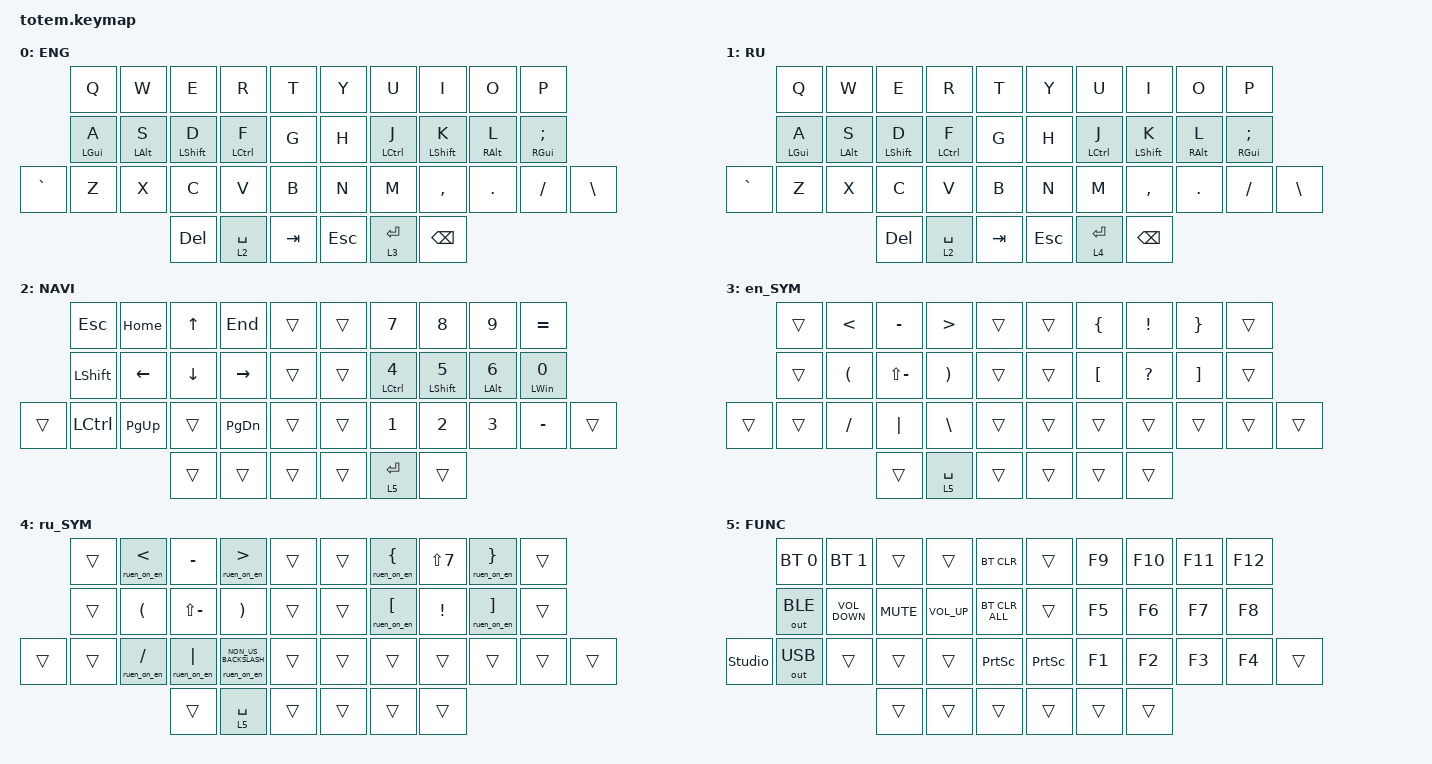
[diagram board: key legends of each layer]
//
//                                                        ▀▀▀▀▀     ▀▀▀▀▀          ▀▀█▀▀
//                                                        ▄▀▀▀▄  ▄  ▄▀▀▀▄  ▄  ▄▀▀▀▄  █  ▄▀▀▀▄
//                                                        █   █  █  █   █  █  █   █  █  █   █
//                                                         ▀▀▀   █   ▀▀▀   █   ▀▀▀   ▀   ▀▀▀
//                                                               █      ▄▄▄█▄▄▄    █   █  
//                                                               ▀      █  █  █     █▄█
//                                                             ▀▀▀▀▀    █  █  █      ▀
//                                                                      ▀  ▀  ▀
//
// ▄▄▄▄▄▄▄▄▄▄▄▄▄▄▄▄▄▄▄▄▄▄▄▄▄▄▄▄▄▄▄▄▄▄▄▄▄▄▄▄▄▄▄▄▄▄▄▄▄▄▄▄▄▄▄▄▄▄▄▄▄▄▄▄▄▄▄▄▄▄▄▄▄▄▄▄▄▄▄▄▄▄▄▄▄▄▄▄▄▄▄▄▄▄▄▄▄▄▄▄▄▄▄▄▄▄▄▄▄▄▄▄▄▄▄▄▄▄▄▄▄▄▄▄▄▄▄▄▄▄▄▄▄▄▄▄▄▄▄▄▄▄▄▄▄▄▄▄▄

#include <behaviors.dtsi>
#include <dt-bindings/zmk/bt.h>
#include <dt-bindings/zmk/keys.h>
#include <dt-bindings/zmk/outputs.h>

#define BASE 0
#define NAV  1
#define SYM  2
#define ADJ  3
#define TVP1 4
#define TVP2 5

&mt {
    quick-tap-ms = <100>;
    global-quick-tap;
    flavor = "tap-preferred";
    tapping-term-ms = <170>;
};

/ {
    combos {
        compatible = "zmk,combos";

        combo_esc {
            timeout-ms = <50>;
            key-positions = <0 1>;
            bindings = <&kp ESC>;
            layers = <0 1>;
        };

        combo_tvp {
            timeout-ms = <100>;
            key-positions = <11 12 13>;
            bindings = <&tog 0>;
        };

        Eng_layer {
            bindings = <&en_lay>;
            key-positions = <21 22>;
        };

        ru_layer {
            bindings = <&ru_lay>;
            key-positions = <30 29>;
        };

        onEn_dot_colon {
            bindings = <&mt LS(SEMICOLON) PERIOD>;
            key-positions = <2 3>;
            layers = <0>;
        };

        onRu_dot_colon {
            bindings = <&mt NUMBER_6 LS(SLASH)>;
            key-positions = <2 3>;
            layers = <1>;
        };

        onEn_comma_semicolon {
            bindings = <&mt SEMICOLON COMMA>;
            key-positions = <2 1>;
            layers = <0>;
        };

        onRu_comma_semicolon {
            bindings = <&mt LS(NUMBER_4) LS(SLASH)>;
            key-positions = <1 2>;
            layers = <1>;
        };

        onRu_square_l {
            bindings = <&ruen_on_en LEFT_BRACKET>;
            key-positions = <13 14>;
            layers = <1>;
        };

        onRu_square_r {
            bindings = <&ruen_on_en RIGHT_BRACKET>;
            key-positions = <15 16>;
            layers = <1>;
        };

        round_brace_l {
            bindings = <&kp LS(N9)>;
            key-positions = <3 4>;
            layers = <0 1>;
        };

        round_brace_r {
            bindings = <&kp LS(N0)>;
            key-positions = <5 6>;
            layers = <0 1>;
        };

        onEn_square_l {
            bindings = <&kp LEFT_BRACKET>;
            key-positions = <13 14>;
            layers = <0>;
        };

        onEn_square_r {
            bindings = <&kp LEFT_BRACKET>;
            key-positions = <15 16>;
            layers = <0>;
        };

        onRu_figure_l {
            bindings = <&ruen_on_en LS(LEFT_BRACKET)>;
            key-positions = <3 4>;
            layers = <0>;
        };

        onRu_figure_r {
            bindings = <&ruen_on_en LS(RIGHT_BRACKET)>;
            key-positions = <5 6>;
            layers = <0>;
        };

        backspace {
            bindings = <&kp BACKSPACE>;
            key-positions = <8 9>;
        };

        cut {
            bindings = <&kp K_CUT>;
            key-positions = <21 22>;
        };

        copy {
            bindings = <&kp K_COPY>;
            key-positions = <22 23>;
        };

        paste {
            bindings = <&kp K_PASTE>;
            key-positions = <23 24>;
        };

        rus_kha {
            bindings = <&kp LEFT_BRACKET>;
            key-positions = <7 6>;
            layers = <1>;
        };

        rus_hard_sign {
            bindings = <&kp RIGHT_BRACKET>;
            key-positions = <7 8>;
            layers = <1>;
        };

        leftRound {
            bindings = <&kp LS(N9)>;
            key-positions = <24 25>;
            layers = <0 1>;
        };

        rightRound {
            bindings = <&kp LS(N0)>;
            key-positions = <26 27>;
        };
    };

    macros {
        gif: gif {
            label = "giphy";
            compatible = "zmk,behavior-macro";
            #binding-cells = <0>;
            bindings =
                <&macro_press>,
                <&kp LSHFT>,
                <&macro_tap>,
                <&kp N2>,
                <&macro_release>,
                <&kp LSHFT>,
                <&macro_tap>,
                <&kp G &kp I &kp F>;
        };

        en_lay: ru_lay {
            compatible = "zmk,behavior-macro";
            #binding-cells = <0>;
            bindings = <&to_en &to 0>;
            label = "RU_LAY";
        };

        ru_lay: en_lay {
            compatible = "zmk,behavior-macro";
            #binding-cells = <0>;
            bindings = <&to_ru &to 1>;
            label = "EN_LAY";
        };

        to_en: to_en {
            compatible = "zmk,behavior-macro";
            #binding-cells = <0>;
            bindings = <&kp LA(LC(NUMBER_1))>;
            label = "TO_EN";
        };

        to_ru: to_ru {
            compatible = "zmk,behavior-macro";
            #binding-cells = <0>;
            bindings = <&kp LC(LA(NUMBER_2))>;
            label = "TO_RU";
        };

        ruen_on_en: ruen_on_en {
            compatible = "zmk,behavior-macro-one-param";
            #binding-cells = <1>;
            bindings =
                <&to_en>,
                <&macro_press>,
                <&macro_param_1to1 &kp MACRO_PLACEHOLDER>,
                <&macro_pause_for_release>,
                <&macro_release>,
                <&macro_param_1to1 &kp MACRO_PLACEHOLDER>,
                <&macro_tap>,
                <&to_ru>;

            label = "RUEN_ON_EN";
        };
    };

    behaviors {
        hrm_left: hrm_left {
            compatible = "zmk,behavior-hold-tap";
            label = "HRM_LEFT";
            bindings = <&kp>, <&kp>;

            #binding-cells = <2>;
            tapping-term-ms = <280>;
            quick-tap-ms = <175>;
            require-prior-idle-ms = <150>;
            flavor = "balanced";
            hold-trigger-key-positions = <2 3 4 3 4 0 1 2 3 4 10 11 12 13 14 20 21 22 23 24 25 32 33 34>;
            hold-trigger-on-release;
        };

        hrm_right: hrm_right {
            compatible = "zmk,behavior-hold-tap";
            label = "HRM_RIGHT";
            bindings = <&kp>, <&kp>;

            #binding-cells = <2>;
            tapping-term-ms = <280>;
            quick-tap-ms = <175>;
            require-prior-idle-ms = <150>;
            flavor = "balanced";
            hold-trigger-on-release;
            hold-trigger-key-positions = <5 6 7 8 9 15 16 17 18 19 26 27 28 29 30 31 35 36 37>;
        };
    };

    keymap {
        compatible = "zmk,keymap";

        // ▄▄▄▄▄▄▄▄▄▄▄▄▄▄▄▄▄▄▄▄▄▄▄▄▄▄▄▄▄▄▄▄▄▄▄▄▄▄▄▄▄▄▄▄▄▄▄▄▄▄▄▄▄▄▄▄▄▄▄▄▄▄▄▄▄▄▄▄▄▄▄▄▄▄▄▄▄▄▄▄▄▄▄▄▄▄▄▄▄▄▄▄▄▄▄▄▄▄▄▄▄▄▄▄▄▄▄▄▄▄▄▄▄▄▄▄▄▄▄▄▄▄▄▄▄▄▄▄▄▄▄▄▄▄▄▄▄▄▄▄▄▄▄▄▄▄▄▄▄

        ENG {
            // ┏━━━━━━━━━━━━━━━━━━━━━━━━━━━━━━━━━━━━━━━┓

            label = "ENG";

            // ┗━━━━━━━━━━━━━━━━━━━━━━━━━━━━━━━━━━━━━━━┛
            //             ┏━━━━━━━━━━━┳━━━━━━━━━━━┳━━━━━━━━━━━┳━━━━━━━━━━━┳━━━━━━━━━━━┓   ┏━━━━━━━━━━━┳━━━━━━━━━━━┳━━━━━━━━━━━┳━━━━━━━━━━━┳━━━━━━━━━━━┓
            //             ┃     Q     ┃     W     ┃     F     ┃     P     ┃     G     ┃   ┃     J     ┃     L     ┃     U     ┃     Y     ┃     ;     ┃
            //             ┣━━━━━━━━━━━╋━━━━━━━━━━━╋━━━━━━━━━━━╋━━━━━━━━━━━╋━━━━━━━━━━━┫   ┣━━━━━━━━━━━╋━━━━━━━━━━━╋━━━━━━━━━━━╋━━━━━━━━━━━╋━━━━━━━━━━━┫
            //             ┃     A     ┃     R     ┃     S     ┃     T     ┃     D     ┃   ┃     H     ┃     N     ┃     E     ┃     I     ┃     O     ┃
            // ┏━━━━━━━━━━━╋━━━━━━━━━━━╋━━━━━━━━━━━╋━━━━━━━━━━━╋━━━━━━━━━━━╋━━━━━━━━━━━┫   ┣━━━━━━━━━━━╋━━━━━━━━━━━╋━━━━━━━━━━━╋━━━━━━━━━━━╋━━━━━━━━━━━╋━━━━━━━━━━━┓
            // ┃     Q     ┃     Z     ┃     X     ┃     C     ┃     V     ┃     B     ┃   ┃     K     ┃     M     ┃     ,     ┃     .     ┃     /     ┃     \     ┃
            // ┗━━━━━━━━━━━┻━━━━━━━━━━━┻━━━━━━━━━━━╋━━━━━━━━━━━╋━━━━━━━━━━━╋━━━━━━━━━━━┫   ┣━━━━━━━━━━━╋━━━━━━━━━━━╋━━━━━━━━━━━╋━━━━━━━━━━━┻━━━━━━━━━━━┻━━━━━━━━━━━┛
            //                                     ┃    DEL    ┃    TAB    ┃    SPC    ┃   ┃   ENTER   ┃           ┃   BSPC    ┃
            //                                     ┗━━━━━━━━━━━┻━━━━━━━━━━━┻━━━━━━━━━━━┛   ┗━━━━━━━━━━━┻━━━━━━━━━━━┻━━━━━━━━━━━┛

            bindings = <
           &kp Q       &kp W       &kp E        &kp R        &kp T      &kp Y    &kp U        &kp I             &kp O       &kp P
           &mt LGUI A  &mt LALT S  &mt LSHFT D  &mt LCTRL F  &kp G      &kp H    &mt LCTRL J  &mt LEFT_SHIFT K  &mt RALT L  &mt RGUI SEMICOLON
&kp GRAVE  &kp Z       &kp X       &kp C        &kp V        &kp B      &kp N    &kp M        &kp COMMA         &kp DOT     &kp SLASH           &kp BSLH
                                   &kp DEL      &lt 2 SPACE  &kp TAB    &kp ESC  &lt 3 ENTER  &kp BSPC
            >;
        };

        RU {
            label = "RU";
            bindings = <
           &kp Q             &kp W             &kp E                   &kp R                     &kp T      &kp Y    &kp U                      &kp I                    &kp O              &kp P
           &hrm_left LGUI A  &hrm_left LALT S  &hrm_left LEFT_SHIFT D  &hrm_left LEFT_CONTROL F  &kp G      &kp H    &hrm_right LEFT_CONTROL J  &hrm_right LEFT_SHIFT K  &hrm_right RALT L  &hrm_right RGUI SEMICOLON
&kp GRAVE  &kp Z             &kp X             &kp C                   &kp V                     &kp B      &kp N    &kp M                      &kp COMMA                &kp DOT            &kp SLASH                  &kp BSLH
                                               &kp DEL                 &lt 2 SPACE               &kp TAB    &kp ESC  &lt 4 ENTER                &kp BSPC
            >;
        };

        nav_layer {
            // ┏━━━━━━━━━━━━━━━━━━━━━━━━━━━━━━━━━━━━━━━┓

            label = "NAVI";

            // ┗━━━━━━━━━━━━━━━━━━━━━━━━━━━━━━━━━━━━━━━┛
            //             ┏━━━━━━━━━━━┳━━━━━━━━━━━┳━━━━━━━━━━━┳━━━━━━━━━━━┳━━━━━━━━━━━┓   ┏━━━━━━━━━━━┳━━━━━━━━━━━┳━━━━━━━━━━━┳━━━━━━━━━━━┳━━━━━━━━━━━┓
            //             ┃           ┃           ┃     UP    ┃           ┃     {     ┃   ┃     }     ┃     7     ┃     8     ┃     9     ┃     +     ┃
            //             ┣━━━━━━━━━━━╋━━━━━━━━━━━╋━━━━━━━━━━━╋━━━━━━━━━━━╋━━━━━━━━━━━┫   ┣━━━━━━━━━━━╋━━━━━━━━━━━╋━━━━━━━━━━━╋━━━━━━━━━━━╋━━━━━━━━━━━┫
            //             ┃   SHIFT   ┃   LEFT    ┃    DOWN   ┃   RIGHT   ┃     [     ┃   ┃     ]     ┃     4     ┃     5     ┃     6     ┃     -     ┃
            // ┏━━━━━━━━━━━╋━━━━━━━━━━━╋━━━━━━━━━━━╋━━━━━━━━━━━╋━━━━━━━━━━━╋━━━━━━━━━━━┫   ┣━━━━━━━━━━━╋━━━━━━━━━━━╋━━━━━━━━━━━╋━━━━━━━━━━━╋━━━━━━━━━━━╋━━━━━━━━━━━┓
            // ┃           ┃           ┃   P UP    ┃  C LOCK   ┃  P DOWN   ┃     (     ┃   ┃     )     ┃     1     ┃     2     ┃     3     ┃     *     ┃           ┃
            // ┗━━━━━━━━━━━┻━━━━━━━━━━━┻━━━━━━━━━━━╋━━━━━━━━━━━╋━━━━━━━━━━━╋━━━━━━━━━━━┫   ┣━━━━━━━━━━━╋━━━━━━━━━━━╋━━━━━━━━━━━╋━━━━━━━━━━━┻━━━━━━━━━━━┻━━━━━━━━━━━┛
            //                                     ┃           ┃    TAB    ┃    SPC    ┃   ┃    DEL    ┃     0     ┃           ┃
            //                                     ┗━━━━━━━━━━━┻━━━━━━━━━━━┻━━━━━━━━━━━┛   ┗━━━━━━━━━━━┻━━━━━━━━━━━┻━━━━━━━━━━━┛

            bindings = <
        &kp ESC    &kp HOME   &kp UP    &kp END    &trans    &trans  &kp N7              &kp N8             &kp N9                 &kp EQUAL
        &kp LSHFT  &kp LEFT   &kp DOWN  &kp RIGHT  &trans    &trans  &mt LCTRL NUMBER_4  &mt LEFT_SHIFT N5  &mt LEFT_ALT NUMBER_6  &mt LEFT_WIN N0
&trans  &kp LCTRL  &kp PG_UP  &trans    &kp PG_DN  &trans    &trans  &kp NUMBER_1        &kp NUMBER_2       &kp NUMBER_3           &kp MINUS        &trans
                              &trans    &trans     &trans    &trans  &lt 5 ENTER         &trans
            >;
        };

        en_SYM {
            // ┏━━━━━━━━━━━━━━━━━━━━━━━━━━━━━━━━━━━━━━━┓

            label = "en_SYM";

            // ┗━━━━━━━━━━━━━━━━━━━━━━━━━━━━━━━━━━━━━━━┛
            //             ┏━━━━━━━━━━━┳━━━━━━━━━━━┳━━━━━━━━━━━┳━━━━━━━━━━━┳━━━━━━━━━━━┓   ┏━━━━━━━━━━━┳━━━━━━━━━━━┳━━━━━━━━━━━┳━━━━━━━━━━━┳━━━━━━━━━━━┓
            //             ┃     !     ┃     @     ┃     #     ┃     $     ┃     %     ┃   ┃     ˆ     ┃     &     ┃     Ü     ┃     '     ┃     "     ┃
            //             ┣━━━━━━━━━━━╋━━━━━━━━━━━╋━━━━━━━━━━━╋━━━━━━━━━━━╋━━━━━━━━━━━┫   ┣━━━━━━━━━━━╋━━━━━━━━━━━╋━━━━━━━━━━━╋━━━━━━━━━━━╋━━━━━━━━━━━┫
            //             ┃     Ä     ┃           ┃    SZ     ┃           ┃           ┃   ┃   MUTE    ┃   YEN     ┃   EURO    ┃  POUND    ┃     Ö     ┃
            // ┏━━━━━━━━━━━╋━━━━━━━━━━━╋━━━━━━━━━━━╋━━━━━━━━━━━╋━━━━━━━━━━━╋━━━━━━━━━━━┫   ┣━━━━━━━━━━━╋━━━━━━━━━━━╋━━━━━━━━━━━╋━━━━━━━━━━━╋━━━━━━━━━━━╋━━━━━━━━━━━┓
            // ┃           ┃  EMAIL1   ┃  EMAIL2   ┃           ┃           ┃           ┃   ┃   VOL-    ┃   VOL+    ┃   LAST    ┃   NEXT    ┃     \     ┃           ┃
            // ┗━━━━━━━━━━━┻━━━━━━━━━━━┻━━━━━━━━━━━╋━━━━━━━━━━━╋━━━━━━━━━━━╋━━━━━━━━━━━┫   ┣━━━━━━━━━━━╋━━━━━━━━━━━╋━━━━━━━━━━━╋━━━━━━━━━━━┻━━━━━━━━━━━┻━━━━━━━━━━━┛
            //                                     ┃           ┃    GIF    ┃    ADJ    ┃   ┃           ┃           ┃           ┃
            //                                     ┗━━━━━━━━━━━┻━━━━━━━━━━━┻━━━━━━━━━━━┛   ┗━━━━━━━━━━━┻━━━━━━━━━━━┻━━━━━━━━━━━┛

            bindings = <
        &trans  &kp LESS_THAN         &kp MINUS      &kp GREATER_THAN       &trans    &trans  &kp LEFT_BRACE  &kp EXCLAMATION  &kp RIGHT_BRACE  &trans
        &trans  &kp LEFT_PARENTHESIS  &kp LS(MINUS)  &kp RIGHT_PARENTHESIS  &trans    &trans  &kp LBKT        &kp QUESTION     &kp RBKT         &trans
&trans  &trans  &kp FSLH              &kp PIPE       &kp BSLH               &trans    &trans  &trans          &trans           &trans           &trans  &trans
                                      &trans         &lt 5 SPACE            &trans    &trans  &trans          &trans
            >;
        };

        ru_SYM {
            label = "ru_SYM";
            bindings = <
        &trans  &ruen_on_en LESS_THAN  &kp MINUS         &ruen_on_en GREATER_THAN      &trans    &trans  &ruen_on_en LEFT_BRACE    &kp LS(N7)       &ruen_on_en RIGHT_BRACE    &trans
        &trans  &kp LEFT_PARENTHESIS   &kp LS(MINUS)     &kp RIGHT_PARENTHESIS         &trans    &trans  &ruen_on_en LEFT_BRACKET  &kp EXCLAMATION  &ruen_on_en RIGHT_BRACKET  &trans
&trans  &trans  &ruen_on_en SLASH      &ruen_on_en PIPE  &ruen_on_en NON_US_BACKSLASH  &trans    &trans  &trans                    &trans           &trans                     &trans  &trans
                                       &trans            &lt 5 SPACE                   &trans    &trans  &trans                    &trans
            >;
        };

        FUNC {
            // ┏━━━━━━━━━━━━━━━━━━━━━━━━━━━━━━━━━━━━━━━┓

            label = "FUNC";

            // ┗━━━━━━━━━━━━━━━━━━━━━━━━━━━━━━━━━━━━━━━┛
            //             ┏━━━━━━━━━━━┳━━━━━━━━━━━┳━━━━━━━━━━━┳━━━━━━━━━━━┳━━━━━━━━━━━┓   ┏━━━━━━━━━━━┳━━━━━━━━━━━┳━━━━━━━━━━━┳━━━━━━━━━━━┳━━━━━━━━━━━┓
            //             ┃   RESET   ┃ BT CLEAR  ┃  OUT TOG  ┃           ┃           ┃   ┃           ┃    F7     ┃    F8     ┃    F9     ┃    F12    ┃
            //             ┣━━━━━━━━━━━╋━━━━━━━━━━━╋━━━━━━━━━━━╋━━━━━━━━━━━╋━━━━━━━━━━━┫   ┣━━━━━━━━━━━╋━━━━━━━━━━━╋━━━━━━━━━━━╋━━━━━━━━━━━╋━━━━━━━━━━━┫
            //             ┃ BOOTLOAD  ┃ BT NEXT   ┃           ┃           ┃           ┃   ┃           ┃    F4     ┃    F5     ┃    F6     ┃    F11    ┃
            // ┏━━━━━━━━━━━╋━━━━━━━━━━━╋━━━━━━━━━━━╋━━━━━━━━━━━╋━━━━━━━━━━━╋━━━━━━━━━━━┫   ┣━━━━━━━━━━━╋━━━━━━━━━━━╋━━━━━━━━━━━╋━━━━━━━━━━━╋━━━━━━━━━━━╋━━━━━━━━━━━┓
            // ┃           ┃           ┃ BT PREV   ┃           ┃           ┃           ┃   ┃           ┃    F1     ┃    F2     ┃    F3     ┃    F10    ┃           ┃
            // ┗━━━━━━━━━━━┻━━━━━━━━━━━┻━━━━━━━━━━━╋━━━━━━━━━━━╋━━━━━━━━━━━╋━━━━━━━━━━━┫   ┣━━━━━━━━━━━╋━━━━━━━━━━━╋━━━━━━━━━━━╋━━━━━━━━━━━┻━━━━━━━━━━━┻━━━━━━━━━━━┛
            //                                     ┃           ┃           ┃           ┃   ┃           ┃           ┃           ┃
            //                                     ┗━━━━━━━━━━━┻━━━━━━━━━━━┻━━━━━━━━━━━┛   ┗━━━━━━━━━━━┻━━━━━━━━━━━┻━━━━━━━━━━━┛

            bindings = <
                &bt BT_SEL 0  &bt BT_SEL 1       &trans      &trans           &bt BT_CLR         &trans           &kp F9  &kp F10  &kp F11  &kp F12
                &out OUT_BLE  &kp C_VOLUME_DOWN  &kp K_MUTE  &kp C_VOLUME_UP  &bt BT_CLR_ALL     &trans           &kp F5  &kp F6   &kp F7   &kp F8
&studio_unlock  &out OUT_USB  &trans             &trans      &trans           &kp PRINTSCREEN    &kp PRINTSCREEN  &kp F1  &kp F2   &kp F3   &kp F4   &trans
                                                 &trans      &trans           &trans             &trans           &trans  &trans
            >;
        };
    };

    conditional_layers { compatible = "zmk,conditional-layers"; };
};
